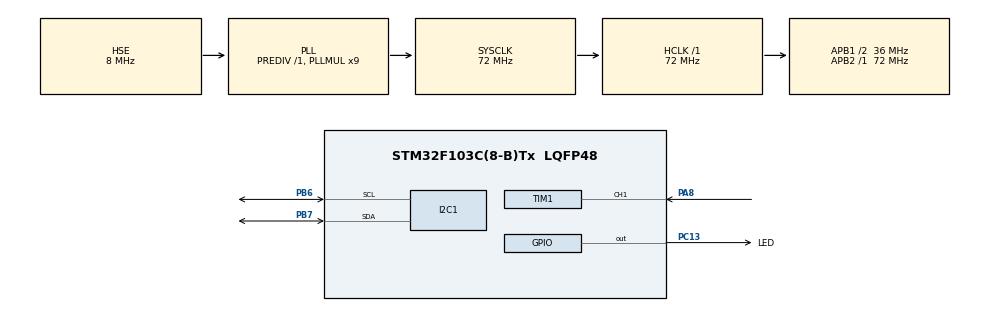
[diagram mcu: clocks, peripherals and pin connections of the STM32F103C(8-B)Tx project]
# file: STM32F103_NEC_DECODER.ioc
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I2C1.I2C_Mode=I2C_Fast
Mcu.Family=STM32F1
Mcu.Name=STM32F103C(8-B)Tx
Mcu.Package=LQFP48
Mcu.UserConstants=PSC,17;ARR,65535
NVIC.PriorityGroup=NVIC_PRIORITYGROUP_4
NVIC.TIM1_CC_IRQn=true\:0\:0\:false\:false\:true\:true\:true\:true
PA13.Mode=Serial_Wire
PA13.Signal=SYS_JTMS-SWDIO
PA14.Mode=Serial_Wire
PA14.Signal=SYS_JTCK-SWCLK
PA8.Signal=S_TIM1_CH1
PB6.Mode=I2C
PB6.Signal=I2C1_SCL
PB7.Mode=I2C
PB7.Signal=I2C1_SDA
PC13-TAMPER-RTC.GPIO_Label=LED
PC13-TAMPER-RTC.GPIO_Speed=GPIO_SPEED_FREQ_HIGH
PC13-TAMPER-RTC.Signal=GPIO_Output
PC14-OSC32_IN.Mode=LSE-External-Oscillator
PC14-OSC32_IN.Signal=RCC_OSC32_IN
PC15-OSC32_OUT.Mode=LSE-External-Oscillator
PC15-OSC32_OUT.Signal=RCC_OSC32_OUT
PD0-OSC_IN.Mode=HSE-External-Oscillator
PD0-OSC_IN.Signal=RCC_OSC_IN
PD1-OSC_OUT.Mode=HSE-External-Oscillator
PD1-OSC_OUT.Signal=RCC_OSC_OUT
ProjectManager.HeapSize=0x200
ProjectManager.StackSize=0x400
ProjectManager.TargetToolchain=STM32CubeIDE
RCC.AHBFreq_Value=72000000
RCC.APB1CLKDivider=RCC_HCLK_DIV2
RCC.APB1Freq_Value=36000000
RCC.APB1TimFreq_Value=72000000
RCC.APB2Freq_Value=72000000
RCC.APB2TimFreq_Value=72000000
RCC.HCLKFreq_Value=72000000
RCC.PLLMUL=RCC_PLL_MUL9
RCC.PLLSourceVirtual=RCC_PLLSOURCE_HSE
RCC.SYSCLKFreq_VALUE=72000000
RCC.SYSCLKSource=RCC_SYSCLKSOURCE_PLLCLK
RCC.USBFreq_Value=72000000
SH.S_TIM1_CH1.0=TIM1_CH1,Input_Capture1_from_TI1
TIM1.AutoReloadPreload=TIM_AUTORELOAD_PRELOAD_DISABLE
TIM1.Channel-Input_Capture1_from_TI1=TIM_CHANNEL_1
TIM1.ICPolarity_CH1=TIM_INPUTCHANNELPOLARITY_FALLING
TIM1.Period=ARR
TIM1.Prescaler=PSC
VP_TIM1_VS_ClockSourceINT.Mode=Internal
board=custom

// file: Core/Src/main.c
/* USER CODE BEGIN Header */
/**
  ******************************************************************************
  * @file           : main.c
  * @brief          : Main program body
  ******************************************************************************
  * @attention
  *
  * Copyright (c) 2022 STMicroelectronics.
  * All rights reserved.
  *
  * This software is licensed under terms that can be found in the LICENSE file
  * in the root directory of this software component.
  * If no LICENSE file comes with this software, it is provided AS-IS.
  *
  ******************************************************************************
  */
/* USER CODE END Header */
#include "main.h"

/* USER CODE BEGIN Includes */
#include "fonts.h"
#include "ssd1306.h"
/* USER CODE END Includes */

/* USER CODE BEGIN PD */
#define TIMCLOCK   72000000
#define MSG_SIZE 32

#define VPCOM
#undef DEBUG

uint8_t len = 0;
uint8_t BUFF[80];

struct NEC NEC1;

/* USER CODE END PD */

 I2C_HandleTypeDef hi2c1;

TIM_HandleTypeDef htim1;

/* USER CODE BEGIN PV */

volatile uint32_t times[MSG_SIZE];
uint8_t times_index = 0;
volatile uint32_t IC_Val1 = 0;
volatile uint32_t IC_Val2 = 0;
volatile uint32_t Difference = 0;
volatile int Is_First_Captured = 0;
char msg[10];

/* USER CODE END PV */

void SystemClock_Config(void);
static void MX_GPIO_Init(void);
static void MX_I2C1_Init(void);
static void MX_TIM1_Init(void);

/* USER CODE BEGIN 0 */
void HAL_TIM_PeriodElapsedCallback(TIM_HandleTypeDef *htim) {
	if (htim->Instance == TIM1) {
		HAL_GPIO_WritePin(LED_GPIO_Port, LED_Pin, GPIO_PIN_SET);
		NEC1.addr = 0;
		NEC1.addr_inv = 0;
		NEC1.cmd = 0;
		NEC1.cmd_inv = 0;
		NEC1.complet = 0;
		NEC1.gpio = 0;
		NEC1.i = 0;
		NEC1.init_seq = 0;
		NEC1.repeat = 0;
		NEC1.complet = 0;
		/*
		MAXIM(&hspi1, 1, NEC1.addr);
		MAXIM(&hspi1, 2, NEC1.addr_inv);
		MAXIM(&hspi1, 3, NEC1.cmd);
		MAXIM(&hspi1, 4, NEC1.cmd_inv);
		MAXIM(&hspi1, 5, NEC1.repeat);
		*/
	}
}

#ifdef EXTI_NEC
void HAL_GPIO_EXTI_Callback(uint16_t GPIO_Pin) {
	if (GPIO_Pin == NEC_Pin) {
		NEC1.count = __HAL_TIM_GET_COUNTER(&htim1);
		__HAL_TIM_SET_COUNTER(&htim1, 0);
		NEC1.gpio = HAL_GPIO_ReadPin(NEC_GPIO_Port, NEC_Pin);
		HAL_GPIO_TogglePin(LED_GPIO_Port, LED_Pin);
#ifdef DEBUG
		len = sprintf(BUFF, "DEBUG :\t%u\t%u\t%u\n\0", NEC1.i, NEC1.gpio, NEC1.count);
		CDC_Transmit_FS(BUFF, len);
#endif

		if (NEC1.gpio && NEC1.count > 850 && NEC1.count < 1000) {
			NEC1.init_seq = 1;
			NEC1.complet = 0;
		}

		if (!NEC1.gpio && NEC1.count > 420 && NEC1.count < 480
				&& NEC1.init_seq) {
			NEC1.i = -1;
			NEC1.repeat = 0;
			NEC1.init_seq = 0;
		}

		if (!NEC1.gpio && NEC1.count > 200 && NEC1.count < 260
				&& NEC1.init_seq) {
			NEC1.i = -1;
			NEC1.init_seq = 0;
			NEC1.repeat++;
			NEC1.complet = 1;
		}

		if (NEC1.gpio && NEC1.count > 40 && NEC1.count < 70) {
			NEC1.i++;
		}

		if (!NEC1.gpio && NEC1.count > 40 && NEC1.count < 180) {
			switch (NEC1.i / 8) {
			case 0:
				if (NEC1.count > 100) {
					NEC1.addr |= (1 << (NEC1.i % 8));
				} else {
					NEC1.addr &= ~(1 << (NEC1.i % 8));
				}
				break;
			case 1:
				if (NEC1.count > 100) {
					NEC1.addr_inv |= (1 << (NEC1.i % 8));
				} else {
					NEC1.addr_inv &= ~(1 << (NEC1.i % 8));
				}
				break;
			case 2:
				if (NEC1.count > 100) {
					NEC1.cmd |= (1 << (NEC1.i % 8));
				} else {
					NEC1.cmd &= ~(1 << (NEC1.i % 8));
				}
				break;
			case 3:
				if (NEC1.count > 100) {
					NEC1.cmd_inv |= (1 << (NEC1.i % 8));
				} else {
					NEC1.cmd_inv &= ~(1 << (NEC1.i % 8));
				}
				break;
			default:
				break;
			}
		}

		if (NEC1.i == 32) {
			NEC1.complet = 1;
		}
	}
}
#endif

void HAL_TIM_IC_CaptureCallback(TIM_HandleTypeDef *htim)
{
	if (htim->Channel == HAL_TIM_ACTIVE_CHANNEL_1)
	{
		if (Is_First_Captured==0) // if the first rising edge is not captured
		{
			IC_Val1 = HAL_TIM_ReadCapturedValue(htim, TIM_CHANNEL_1); // read the first value
			Is_First_Captured = 1;  // set the first captured as true
			//__HAL_TIM_SET_CAPTUREPOLARITY(htim, TIM_CHANNEL_1, TIM_INPUTCHANNELPOLARITY_RISING);//Set to capture the rising edge
		}

		else   // If the first rising edge is captured, now we will capture the second edge
		{
			IC_Val2 = HAL_TIM_ReadCapturedValue(htim, TIM_CHANNEL_1);  // read second value

			if (IC_Val2 > IC_Val1)
			{
				Difference = IC_Val2-IC_Val1;
			}

			else if (IC_Val1 > IC_Val2)
			{
				Difference = (ARR - IC_Val1) + IC_Val2;
			}

			times[times_index] = Difference;

			__HAL_TIM_SET_COUNTER(htim, 0);  // reset the counter
			Is_First_Captured = 0; // set it back to false
			IC_Val1 = 0;
			IC_Val2 = 0;
			times_index++;
			//__HAL_TIM_SET_CAPTUREPOLARITY(htim, TIM_CHANNEL_1, TIM_INPUTCHANNELPOLARITY_FALLING);//Set to capture the rising edge
		}

		if (MSG_SIZE == times_index)
			times_index = 0 ;
	}
}
/* USER CODE END 0 */

int main(void)
{

  /* MCU Configuration--------------------------------------------------------*/

  /* Reset of all peripherals, Initializes the Flash interface and the Systick. */
  HAL_Init();

  /* Configure the system clock */
  SystemClock_Config();

  /* Initialize all configured peripherals */
  MX_GPIO_Init();
  MX_I2C1_Init();
  MX_TIM1_Init();
  /* USER CODE BEGIN 2 */

  HAL_GPIO_TogglePin(LED_GPIO_Port, LED_Pin);
  SSD1306_Init();  // initialise
  HAL_TIM_Base_Start_IT(&htim1);
  HAL_TIM_IC_Start_IT(&htim1, TIM_CHANNEL_1);
  /* USER CODE END 2 */

  /* Infinite loop */
  while (1)
  {

    /* USER CODE BEGIN 3 */
	  /*
	  if (!NEC1.repeat)
	  {
		  len = sprintf(BUFF,
							"CMD:%x", NEC1.cmd);
	  }
	  else
	  {
		  len = sprintf(BUFF, "Repeat : %d\n", NEC1.repeat);
	  }
	  SSD1306_GotoXY (0,0);
	  SSD1306_Puts (BUFF, &Font_7x10, 1);
	  SSD1306_UpdateScreen(); //display

	  HAL_Delay (2000);
	  SSD1306_Clear();*/
  }
  /* USER CODE END 3 */
}

void SystemClock_Config(void)
{
  RCC_OscInitTypeDef RCC_OscInitStruct = {0};
  RCC_ClkInitTypeDef RCC_ClkInitStruct = {0};

  /** Initializes the RCC Oscillators according to the specified parameters
  * in the RCC_OscInitTypeDef structure.
  */
  RCC_OscInitStruct.OscillatorType = RCC_OSCILLATORTYPE_HSE;
  RCC_OscInitStruct.HSEState = RCC_HSE_ON;
  RCC_OscInitStruct.HSEPredivValue = RCC_HSE_PREDIV_DIV1;
  RCC_OscInitStruct.HSIState = RCC_HSI_ON;
  RCC_OscInitStruct.PLL.PLLState = RCC_PLL_ON;
  RCC_OscInitStruct.PLL.PLLSource = RCC_PLLSOURCE_HSE;
  RCC_OscInitStruct.PLL.PLLMUL = RCC_PLL_MUL9;
  if (HAL_RCC_OscConfig(&RCC_OscInitStruct) != HAL_OK)
  {
    Error_Handler();
  }

  /** Initializes the CPU, AHB and APB buses clocks
  */
  RCC_ClkInitStruct.ClockType = RCC_CLOCKTYPE_HCLK|RCC_CLOCKTYPE_SYSCLK
                              |RCC_CLOCKTYPE_PCLK1|RCC_CLOCKTYPE_PCLK2;
  RCC_ClkInitStruct.SYSCLKSource = RCC_SYSCLKSOURCE_PLLCLK;
  RCC_ClkInitStruct.AHBCLKDivider = RCC_SYSCLK_DIV1;
  RCC_ClkInitStruct.APB1CLKDivider = RCC_HCLK_DIV2;
  RCC_ClkInitStruct.APB2CLKDivider = RCC_HCLK_DIV1;

  if (HAL_RCC_ClockConfig(&RCC_ClkInitStruct, FLASH_LATENCY_2) != HAL_OK)
  {
    Error_Handler();
  }
}

static void MX_I2C1_Init(void)
{

  hi2c1.Instance = I2C1;
  hi2c1.Init.ClockSpeed = 400000;
  hi2c1.Init.DutyCycle = I2C_DUTYCYCLE_2;
  hi2c1.Init.OwnAddress1 = 0;
  hi2c1.Init.AddressingMode = I2C_ADDRESSINGMODE_7BIT;
  hi2c1.Init.DualAddressMode = I2C_DUALADDRESS_DISABLE;
  hi2c1.Init.OwnAddress2 = 0;
  hi2c1.Init.GeneralCallMode = I2C_GENERALCALL_DISABLE;
  hi2c1.Init.NoStretchMode = I2C_NOSTRETCH_DISABLE;
  if (HAL_I2C_Init(&hi2c1) != HAL_OK)
  {
    Error_Handler();
  }

}

static void MX_TIM1_Init(void)
{

  TIM_ClockConfigTypeDef sClockSourceConfig = {0};
  TIM_MasterConfigTypeDef sMasterConfig = {0};
  TIM_IC_InitTypeDef sConfigIC = {0};

  htim1.Instance = TIM1;
  htim1.Init.Prescaler = PSC;
  htim1.Init.CounterMode = TIM_COUNTERMODE_UP;
  htim1.Init.Period = ARR;
  htim1.Init.ClockDivision = TIM_CLOCKDIVISION_DIV1;
  htim1.Init.RepetitionCounter = 0;
  htim1.Init.AutoReloadPreload = TIM_AUTORELOAD_PRELOAD_DISABLE;
  if (HAL_TIM_Base_Init(&htim1) != HAL_OK)
  {
    Error_Handler();
  }
  sClockSourceConfig.ClockSource = TIM_CLOCKSOURCE_INTERNAL;
  if (HAL_TIM_ConfigClockSource(&htim1, &sClockSourceConfig) != HAL_OK)
  {
    Error_Handler();
  }
  if (HAL_TIM_IC_Init(&htim1) != HAL_OK)
  {
    Error_Handler();
  }
  sMasterConfig.MasterOutputTrigger = TIM_TRGO_RESET;
  sMasterConfig.MasterSlaveMode = TIM_MASTERSLAVEMODE_DISABLE;
  if (HAL_TIMEx_MasterConfigSynchronization(&htim1, &sMasterConfig) != HAL_OK)
  {
    Error_Handler();
  }
  sConfigIC.ICPolarity = TIM_INPUTCHANNELPOLARITY_FALLING;
  sConfigIC.ICSelection = TIM_ICSELECTION_DIRECTTI;
  sConfigIC.ICPrescaler = TIM_ICPSC_DIV1;
  sConfigIC.ICFilter = 0;
  if (HAL_TIM_IC_ConfigChannel(&htim1, &sConfigIC, TIM_CHANNEL_1) != HAL_OK)
  {
    Error_Handler();
  }

}

static void MX_GPIO_Init(void)
{
  GPIO_InitTypeDef GPIO_InitStruct = {0};

  /* GPIO Ports Clock Enable */
  __HAL_RCC_GPIOC_CLK_ENABLE();
  __HAL_RCC_GPIOD_CLK_ENABLE();
  __HAL_RCC_GPIOA_CLK_ENABLE();
  __HAL_RCC_GPIOB_CLK_ENABLE();

  /*Configure GPIO pin Output Level */
  HAL_GPIO_WritePin(LED_GPIO_Port, LED_Pin, GPIO_PIN_RESET);

  /*Configure GPIO pin : LED_Pin */
  GPIO_InitStruct.Pin = LED_Pin;
  GPIO_InitStruct.Mode = GPIO_MODE_OUTPUT_PP;
  GPIO_InitStruct.Pull = GPIO_NOPULL;
  GPIO_InitStruct.Speed = GPIO_SPEED_FREQ_HIGH;
  HAL_GPIO_Init(LED_GPIO_Port, &GPIO_InitStruct);

}

void Error_Handler(void)
{
  __disable_irq();
  while (1)
  {
  }
}
